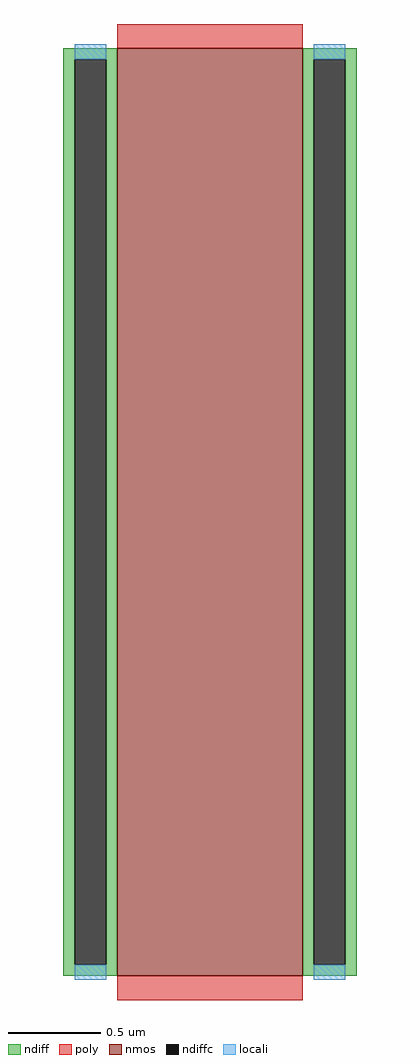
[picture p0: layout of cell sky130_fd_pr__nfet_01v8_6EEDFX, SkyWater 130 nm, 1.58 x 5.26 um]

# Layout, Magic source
magic
tech sky130A
<< nmos >>
rect -50 -250 50 250
<< ndiff >>
rect -79 244 -50 250
rect -79 -244 -73 244
rect -56 -244 -50 244
rect -79 -250 -50 -244
rect 50 244 79 250
rect 50 -244 56 244
rect 73 -244 79 244
rect 50 -250 79 -244
<< ndiffc >>
rect -73 -244 -56 244
rect 56 -244 73 244
<< poly >>
rect -50 250 50 263
rect -50 -263 50 -250
<< locali >>
rect -73 244 -56 252
rect -73 -252 -56 -244
rect 56 244 73 252
rect 56 -252 73 -244
<< properties >>
string gencell sky130_fd_pr__nfet_01v8
string library sky130
string parameters w 5 l 1 m 1 nf 1 diffcov 100 polycov 100 guard 0 glc 0 grc 0 gtc 0 gbc 0 tbcov 100 rlcov 100 topc 0 botc 0 poverlap 0 doverlap 0 lmin 0.15 wmin 0.42 compatible {sky130_fd_pr__nfet_01v8 sky130_fd_pr__nfet_01v8_lvt  sky130_fd_bs_flash__special_sonosfet_star  sky130_fd_pr__nfet_g5v0d10v5 sky130_fd_pr__nfet_05v0_nvt  sky130_fd_pr__nfet_03v3_nvt} full_metal 0 viasrc 0 viadrn 0 viagate 0 viagb 0 viagr 0 viagl 0 viagt 0
string sky130_fd_pr__nfet_01v8_6EEDFX parameters
<< end >>
